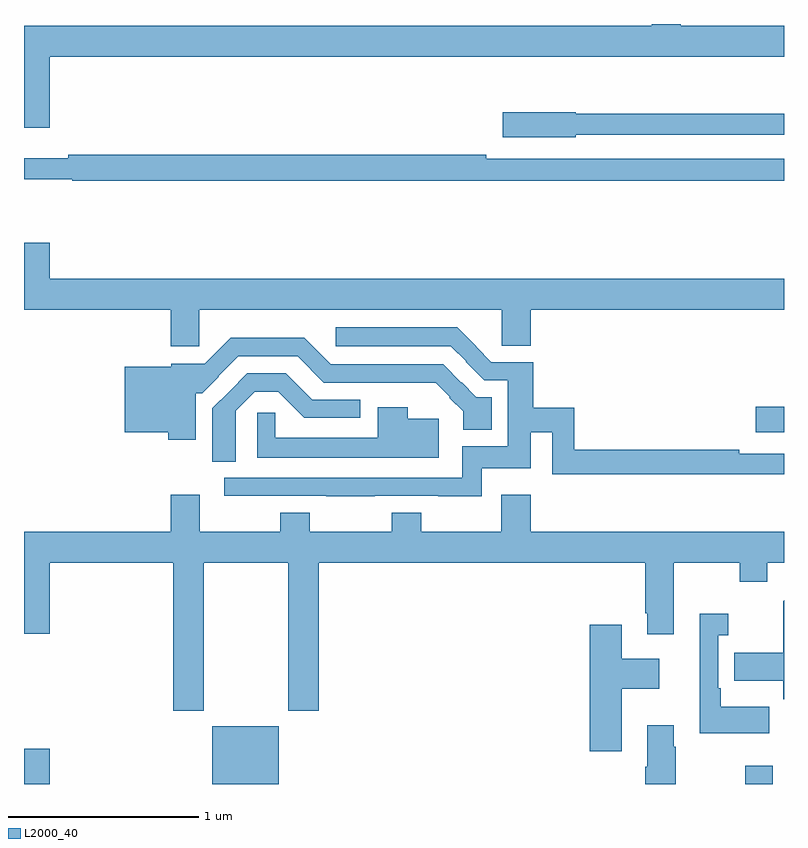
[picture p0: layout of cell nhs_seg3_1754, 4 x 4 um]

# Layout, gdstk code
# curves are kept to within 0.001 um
import gdstk
lib = gdstk.Library(unit=1e-6, precision=1e-09)
def R(c, l, rs):  # rectangles x0, y0, x1, y1
    for r in rs: c.add(gdstk.rectangle(r[:2], r[2:], *l))
def P(c, l, *ps):  # polygons
    for p in ps: c.add(gdstk.Polygon(p, *l))
L2000_40 = (2000, 40)

nhs_seg3_1754 = lib.new_cell('nhs_seg3_1754')
R(nhs_seg3_1754, L2000_40, [(201,718.4,201.136,718.585), (201.992,718.4,202.342,718.705), (204.796,718.4,204.942,718.495), (204.852,720.251,205,720.386)])
P(nhs_seg3_1754, L2000_40, [(201.136,722.228),(205,722.228),(205,722.392),(204.457,722.392),(204.457,722.4),(204.305,722.4),(204.305,722.392),(201,722.392),(201,721.854),(201.136,721.854)],
  [(203.904,721.818),(205,721.818),(205,721.927),(203.904,721.927),(203.904,721.935),(203.52,721.935),(203.52,721.805),(203.904,721.805)],
  [(205,721.692),(203.432,721.692),(203.432,721.712),(201.232,721.712),(201.232,721.693),(201,721.693),(201,721.584),(201.255,721.584),(201.255,721.576),(205,721.576)],
  [(201.923,720.896),(203.514,720.896),(203.514,720.706),(203.666,720.706),(203.666,720.896),(205,720.896),(205,721.06),(201.136,721.06),(201.136,721.249),(201,721.249),(201,720.896),(201.773,720.896),(201.773,720.705),(201.923,720.705)],
  [(202.847,719.916),(203.41,719.915),(203.41,720.062),(203.668,720.062),(203.668,720.252),(203.781,720.252),(203.781,720.03),(205,720.03),(205,720.138),(204.764,720.138),(204.764,720.158),(203.897,720.158),(203.897,720.38),(203.681,720.38),(203.681,720.621),(203.46,720.621),(203.379,720.702),(203.381,720.704),(203.28,720.805),(202.641,720.805),(202.641,720.705),(203.247,720.705),(203.328,720.624),(203.326,720.622),(203.423,720.525),(203.546,720.525),(203.546,720.178),(203.306,720.178),(203.306,720.012),(202.053,720.012),(202.053,719.916)],
  [(201.904,720.456),(201.938,720.456),(202.026,720.543),(202.023,720.546),(202.128,720.651),(202.44,720.651),(202.578,720.513),(203.168,720.512),(203.242,720.437),(203.239,720.434),(203.312,720.361),(203.312,720.264),(203.461,720.264),(203.461,720.436),(203.381,720.436),(203.206,720.609),(202.614,720.609),(202.475,720.748),(202.087,720.748),(201.951,720.612),(201.774,720.612),(201.774,720.595),(201.53,720.595),(201.53,720.251),(201.758,720.251),(201.758,720.212),(201.904,720.212)],
  [(202.114,720.364),(202.215,720.465),(202.338,720.465),(202.476,720.327),(202.771,720.327),(202.771,720.423),(202.516,720.423),(202.378,720.561),(202.175,720.561),(201.992,720.377),(201.992,720.097),(202.114,720.097)],
  [(203.184,720.322),(203.02,720.322),(203.02,720.382),(202.862,720.382),(202.862,720.223),(202.322,720.223),(202.322,720.355),(202.228,720.355),(202.228,720.116),(203.184,720.116)],
  [(201.945,719.564),(202.39,719.564),(202.39,718.785),(202.55,718.785),(202.55,719.564),(204.269,719.564),(204.269,719.299),(204.281,719.299),(204.281,719.187),(204.421,719.187),(204.421,719.564),(204.766,719.564),(204.766,719.465),(204.913,719.465),(204.913,719.564),(205,719.564),(205,719.728),(203.666,719.728),(203.666,719.923),(203.513,719.923),(203.513,719.728),(203.091,719.728),(203.091,719.827),(202.936,719.827),(202.936,719.728),(202.503,719.728),(202.503,719.827),(202.348,719.827),(202.348,719.728),(201.925,719.728),(201.925,719.923),(201.773,719.923),(201.773,719.728),(201,719.728),(201,719.19),(201.136,719.19),(201.136,719.564),(201.785,719.564),(201.785,718.785),(201.945,718.785)],
  [(205,719.367),(204.996,719.363),(204.996,719.091),(204.739,719.091),(204.739,718.943),(204.996,718.943),(204.996,718.847),(205,718.847)],
  [(204.923,718.807),(204.667,718.807),(204.667,718.903),(204.654,718.903),(204.654,719.183),(204.706,719.183),(204.706,719.296),(204.557,719.296),(204.557,718.667),(204.923,718.667)],
  [(204.145,718.901),(204.343,718.901),(204.343,719.059),(204.145,719.059),(204.145,719.239),(203.978,719.239),(203.978,718.572),(204.145,718.572)],
  [(204.429,718.595),(204.421,718.595),(204.421,718.708),(204.281,718.708),(204.281,718.492),(204.269,718.492),(204.269,718.4),(204.429,718.4)])

lib.write_gds('nhs_seg3_1754.gds')
